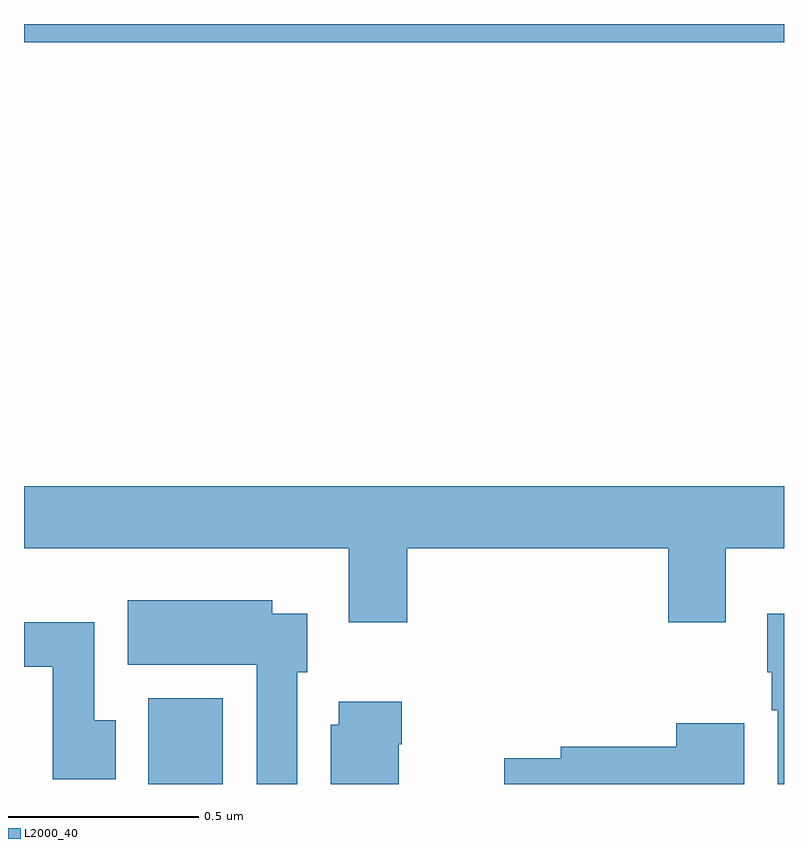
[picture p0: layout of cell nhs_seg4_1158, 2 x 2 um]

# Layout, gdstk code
import gdstk
lib = gdstk.Library(unit=1e-6, precision=1e-09)
def R(c, l, rs):  # rectangles x0, y0, x1, y1
    for r in rs: c.add(gdstk.rectangle(r[:2], r[2:], *l))
def P(c, l, *ps):  # polygons
    for p in ps: c.add(gdstk.Polygon(p, *l))
L2000_40 = (2000, 40)

nhs_seg4_1158 = lib.new_cell('nhs_seg4_1158')
R(nhs_seg4_1158, L2000_40, [(125.327,762.9,125.523,763.126), (125,764.852,127,764.9)])
P(nhs_seg4_1158, L2000_40, [(126.008,763.52),(126.695,763.52),(126.695,763.326),(126.847,763.326),(126.847,763.52),(127,763.52),(127,763.684),(125,763.684),(125,763.52),(125.855,763.52),(125.855,763.326),(126.008,763.326)],
  [(125.719,763.194),(125.746,763.194),(125.746,763.348),(125.653,763.348),(125.653,763.384),(125.273,763.384),(125.273,763.214),(125.612,763.214),(125.612,762.9),(125.719,762.9)],
  [(127,763.348),(126.956,763.348),(126.956,763.194),(126.968,763.194),(126.968,763.094),(126.983,763.094),(126.983,762.9),(127,762.9)],
  [(125.242,763.068),(125.185,763.068),(125.185,763.326),(125,763.326),(125,763.208),(125.075,763.208),(125.075,762.912),(125.242,762.912)],
  [(125.986,763.004),(125.994,763.004),(125.994,763.117),(125.828,763.117),(125.828,763.056),(125.807,763.056),(125.807,762.9),(125.986,762.9)],
  [(126.895,763.06),(126.716,763.06),(126.716,762.998),(126.413,762.998),(126.413,762.968),(126.264,762.968),(126.264,762.9),(126.895,762.9)])

lib.write_gds('nhs_seg4_1158.gds')
